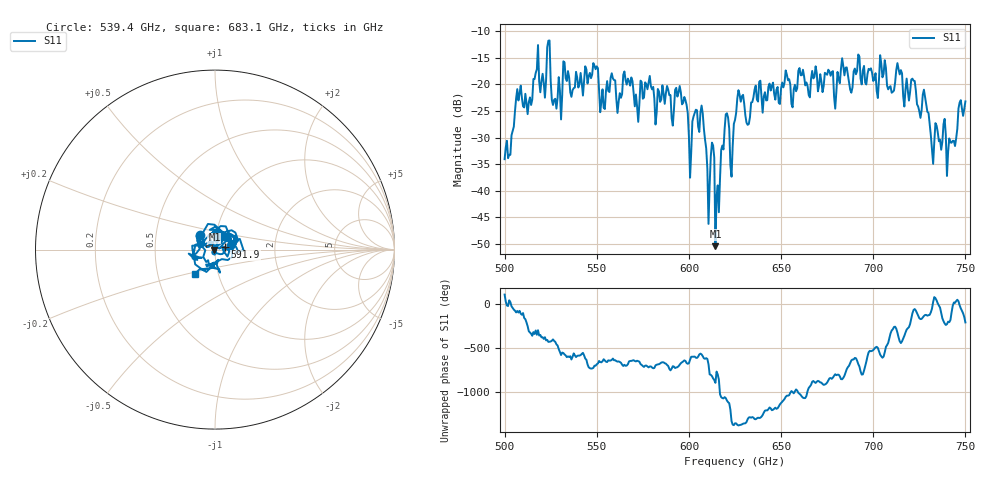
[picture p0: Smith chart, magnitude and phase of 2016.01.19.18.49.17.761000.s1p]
!Created with skrf (http://scikit-rf.org).
# GHz S RI R 50.0
!freq ReS11 ImS11
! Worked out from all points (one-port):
!   401 points, 500 GHz to 750 GHz, reference 50 ohm
!   lowest |S11| = -50.4 dB at 614.4 GHz (marker M1), VSWR 1.01, Z = 49.7 - j0.0496 ohm
!   |S11| at or under -10 dB: start of sweep to end of sweep
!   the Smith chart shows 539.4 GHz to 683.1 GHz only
!   S11 on the Smith chart (normalised r, x): 539.4 GHz: 0.84, +0.14; 591.9 GHz: 1.12, +0.03; 683.1 GHz: 0.77, -0.22
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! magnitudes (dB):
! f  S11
! 500 GHz  -34.1
! 507.5 GHz  -23.0
! 513.8 GHz  -22.4
! 516.9 GHz  -17.8
! 531.2 GHz  -22.0
! 539.4 GHz  -18.7
! 549.4 GHz  -17.1
! 553.1 GHz  -20.9
! 558.8 GHz  -18.9
! 562.5 GHz  -21.6
! 565.6 GHz  -19.2
! 591.9 GHz  -24.7
! 593.8 GHz  -22.3
! 600.6 GHz  -37.5
! 607.5 GHz  -25.5
! 610 GHz  -35.9
! 612.5 GHz  -31.0
! 614.4 GHz  -50.4
! 615.6 GHz  -39.0
! 620.6 GHz  -25.4
! 623.1 GHz  -37.4
! 625 GHz  -26.7
! 656.2 GHz  -24.3
! 683.1 GHz  -15.1
! 687.5 GHz  -21.0
! 718.8 GHz  -21.1
! 741.2 GHz  -30.2
! 750 GHz  -23.2
